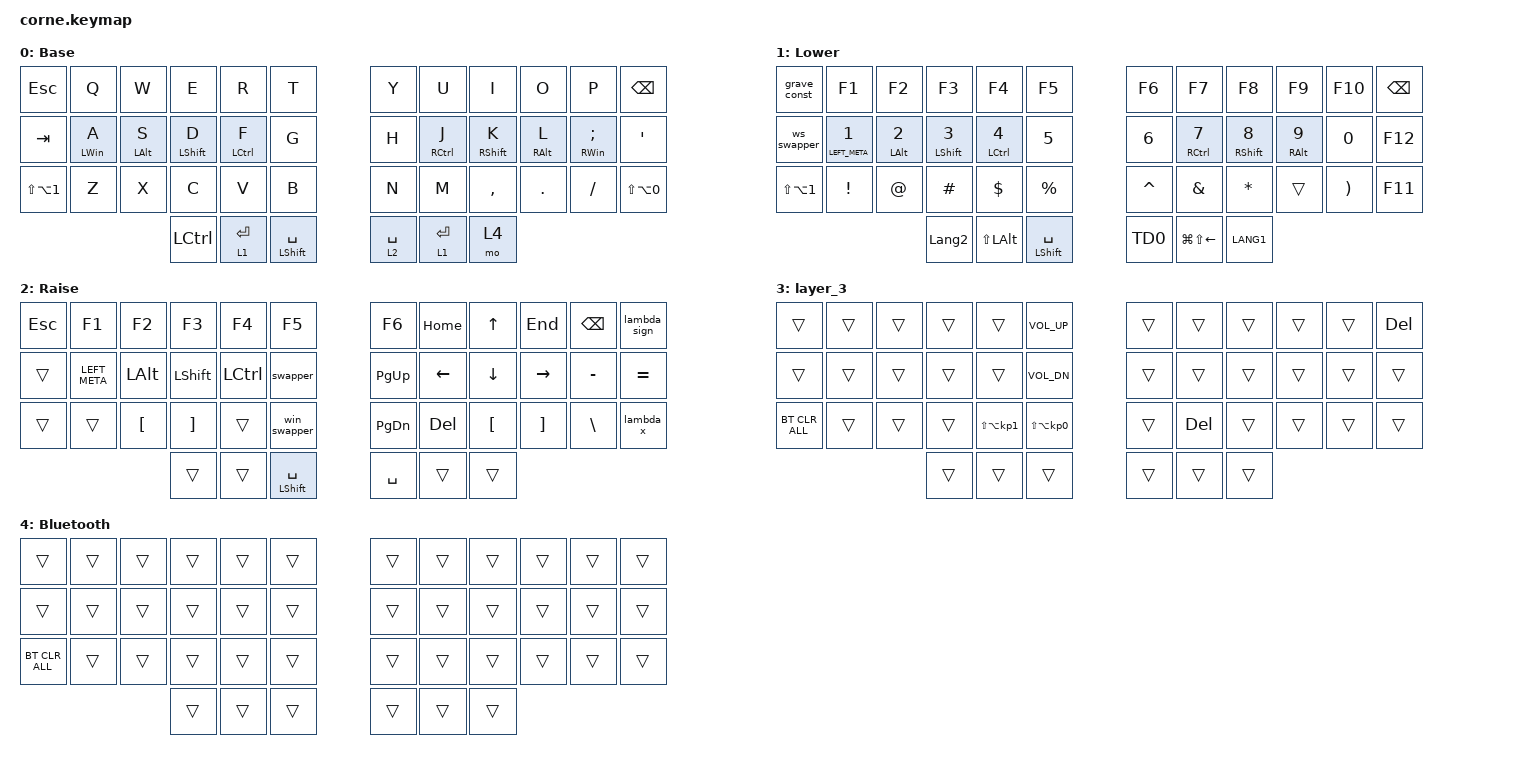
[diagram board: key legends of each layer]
/*
 * Copyright (c) 2020 The ZMK Contributors
 *
 * SPDX-License-Identifier: MIT
 */

#include <behaviors.dtsi>
#include <dt-bindings/zmk/bt.h>
#include <dt-bindings/zmk/keys.h>

/ {
    behaviors {
        HMR: HMR {
            compatible = "zmk,behavior-hold-tap";
            label = "HMR";
            bindings = <&kp>, <&kp>;

            #binding-cells = <2>;
            tapping-term-ms = <280>;
            quick-tap-ms = <175>;
            flavor = "balanced";
            hold-trigger-key-positions = <0 1 2 3 4 5 12 13 14 15 16 17 24 25 26 27 28 29 36 37 38 39 40 41>;
            require-prior-idle-ms = <150>;
            hold-trigger-on-release;
        };

        HML: HML {
            compatible = "zmk,behavior-hold-tap";
            label = "HML";
            bindings = <&kp>, <&kp>;

            #binding-cells = <2>;
            tapping-term-ms = <280>;
            quick-tap-ms = <175>;
            flavor = "balanced";
            hold-trigger-key-positions = <36 37 38 6 7 8 9 10 11 18 19 20 21 22 23 30 31 32 33 34 35 39 40 41>;
            require-prior-idle-ms = <150>;
            hold-trigger-on-release;
        };

        // Alt-on-L only: identical to HMR, but with A (pos 13) and E (pos 3) removed
        // from the trigger list. Word-initial rolls like "la..." / "le..." land after a
        // typing pause, so require-prior-idle can't save them — excluding the positions
        // guarantees L+A / L+E always resolve as taps and never fire Alt+A / Alt+E.
        // All other left-hand keys still combine with L-held-as-Alt (e.g. Alt+Tab via L+Tab).
        HMR_L: HMR_L {
            compatible = "zmk,behavior-hold-tap";
            label = "HMR_L";
            bindings = <&kp>, <&kp>;

            #binding-cells = <2>;
            tapping-term-ms = <280>;
            quick-tap-ms = <175>;
            flavor = "balanced";
            hold-trigger-key-positions = <0 1 2 4 5 12 14 15 16 17 24 25 26 27 28 29 36 37 38 39 40 41>;
            require-prior-idle-ms = <150>;
            hold-trigger-on-release;
        };

        // Alt-on-S only: identical to HML, but with the right-hand letters that form
        // common word-initial "s" bigrams removed, so rolls like "sh", "so", "si",
        // "su", "sy", "sp", "sk", "sl", "sn", "sm" can never fire Alt+<letter> menu
        // accelerators (ribbon/menu focus in Office, browsers, etc.):
        //   Y (6), U (7), I (8), O (9), P (10), H (18), K (20), L (21), N (30), M (31)
        // Still available while holding S as Alt: Alt+J, Alt+Backspace, Alt+Enter
        // (properties/fullscreen), Alt+Space (window menu), and Alt+punctuation.
        HML_S: HML_S {
            compatible = "zmk,behavior-hold-tap";
            label = "HML_S";
            bindings = <&kp>, <&kp>;

            #binding-cells = <2>;
            tapping-term-ms = <280>;
            quick-tap-ms = <175>;
            flavor = "balanced";
            hold-trigger-key-positions = <36 37 38 11 19 22 23 32 33 34 35 39 40 41>;
            require-prior-idle-ms = <150>;
            hold-trigger-on-release;
        };

        // Win-on-A only: identical to HML, but with the Windows system shortcuts that
        // collide with common word-initial "a" rolls removed from the trigger list:
        //   L (21) -> Win+L would LOCK the PC ("all", "also")
        //   N (30) -> Win+N notification center ("and", "any")
        //   M (31) -> Win+M minimize all windows ("am")
        //   H (18) -> Win+H voice typing popup ("ah")
        //   P (10) -> Win+P projection sidebar ("app")
        //   U (7)  -> Win+U accessibility settings ("auto")
        // Useful ones like Win+I (settings), Win+K (cast), Win+. (emoji) remain available.
        HML_A: HML_A {
            compatible = "zmk,behavior-hold-tap";
            label = "HML_A";
            bindings = <&kp>, <&kp>;

            #binding-cells = <2>;
            tapping-term-ms = <280>;
            quick-tap-ms = <175>;
            flavor = "balanced";
            hold-trigger-key-positions = <36 37 38 6 8 9 11 19 20 22 23 32 33 34 35 39 40 41>;
            require-prior-idle-ms = <150>;
            hold-trigger-on-release;
        };

        // urob's swapper (zmk-tri-state module): smart Alt+Tab. First press holds Alt
        // and taps Tab; each further press taps Tab again while Alt stays held, so you
        // can cycle through windows from a single key. Alt is released as soon as any
        // non-ignored key is pressed or the layer is left.
        // ignored-key-positions: 15 (Shift on the raise layer, for reverse cycling
        // with Alt+Shift+Tab) and 39 (the raise-layer thumb key itself).
        swapper: swapper {
            compatible = "zmk,behavior-tri-state";
            #binding-cells = <0>;
            bindings = <&kt LALT>, <&kp TAB>, <&kt LALT>;
            ignored-key-positions = <15 39>;
        };

        // Same idea with the Windows key: opens Task View / workspaces (Win+Tab).
        win_swapper: win_swapper {
            compatible = "zmk,behavior-tri-state";
            #binding-cells = <0>;
            bindings = <&kt LGUI>, <&kp TAB>, <&kt LGUI>;
            ignored-key-positions = <15 39>;
        };

        // Ctrl+Win+Tab workspace cycler, same tri-state trick as the two swappers above.
        // Win is the modifier held ACROSS taps (&kt, applied immediately); Ctrl rides
        // along inside each tap as LC(TAB), so every tap reaches the host as
        // Ctrl+Win+Tab and Win never lifts between taps.
        // Do NOT hold both mods via a macro here: macro bindings are queued with
        // wait-ms (100ms default) between them, while the tri-state's tap fires
        // immediately -> the first tap went out as a bare Ctrl+Tab and Win only landed
        // afterwards. &kt has no such queue.
        // Win is released when the Lower layer is left or any non-ignored key is hit.
        // ignored-key-positions: 37/40 (the Lower-layer Enter thumbs that hold the layer)
        // and 15 (Shift on Lower, so Ctrl+Win+Shift+Tab can cycle the other way).
        ws_swapper: ws_swapper {
            compatible = "zmk,behavior-tri-state";
            #binding-cells = <0>;
            bindings = <&kt LGUI>, <&kp LC(TAB)>, <&kt LGUI>;
            ignored-key-positions = <15 37 40>;
        };

        TD0: TD0 {
            compatible = "zmk,behavior-tap-dance";
            label = "TD0";
            #binding-cells = <0>;
            bindings = <&kp LSHIFT>, <&kp ENTER>;
        };

    };

    combos {
        compatible = "zmk,combos";

        // require-prior-idle-ms on the combos that sit on typing keys: the combo only
        // fires if no other key was pressed in the last 150ms, so fast rolls while
        // typing (e.g. "gf", "cd" bigrams) can never trigger them accidentally.
        Paste {
            bindings = <&kp LC(V)>;
            key-positions = <28 16>;
            require-prior-idle-ms = <150>;
        };

        paste_enter {
            bindings = <&paste_enter>;
            key-positions = <27 28>;
            require-prior-idle-ms = <150>;
        };

        copy {
            bindings = <&kp LC(C)>;
            key-positions = <27 15>;
            require-prior-idle-ms = <150>;
        };

        // X+S pressed together -> Ctrl+X, completing the vertical cut/copy/paste set
        // (cut = X+S, copy = C+D, paste = V+F).
        cut {
            bindings = <&kp LC(X)>;
            key-positions = <26 14>;
            require-prior-idle-ms = <150>;
        };

        // D+K (both index-adjacent home keys) -> Caps Word: capitalizes everything
        // until a word-breaking key (space, punctuation) is pressed. Great for
        // CONSTANTS_LIKE_THIS since underscore does not break it.
        caps_word_combo {
            bindings = <&caps_word>;
            key-positions = <15 20>;
            require-prior-idle-ms = <150>;
        };

        print_screen {
            bindings = <&kp LG(LS(S))>;
            key-positions = <36 37>;
        };

        tab {
            bindings = <&kp TAB>;
            key-positions = <17 16>;
            require-prior-idle-ms = <150>;
        };

        L3 {
            bindings = <&mo 3>;
            key-positions = <0 5>;
        };

        bt_clr_all {
            bindings = <&bt BT_CLR_ALL>;
            key-positions = <0 24 5>;
        };

        // Both Enter thumbs (37+40) pressed together -> latch the numbers layer (&tog 1).
        // Combos are position-based and layer-agnostic, so the SAME chord toggles it
        // back off while latched. Each thumb alone keeps its normal tap-Enter /
        // hold-momentary behavior, and no Lower-layer binding is displaced.
        // Deliberately no require-prior-idle: latching right after typing must work.
        num_toggle {
            bindings = <&tog 1>;
            key-positions = <37 40>;
        };

        // R+F pressed together -> Win+R (Run dialog). Vertical pair like copy (C+D)
        // and paste (V+F); "rf" is a rare bigram so accidental fires while typing are unlikely.
        win_r {
            bindings = <&kp LG(R)>;
            key-positions = <4 16>;
            require-prior-idle-ms = <150>;
        };

        // Parens on right-hand VERTICAL pairs (easier to press than horizontal ones),
        // mirroring the left-hand home+bottom verticals (cut = X+S, copy = C+D,
        // paste = V+F): K+, = ( and L+. = ). Combos are layer-agnostic, so "(" stays
        // reachable even while holding Lower — the dot pass-through keeps its slot.
        lpar {
            bindings = <&kp LPAR>;
            key-positions = <20 32>;
            require-prior-idle-ms = <150>;
        };

        rpar {
            bindings = <&kp RPAR>;
            key-positions = <21 33>;
            require-prior-idle-ms = <150>;
        };

        minus {
            bindings = <&kp MINUS>;
            key-positions = <39 22>;
        };

        equals {
            bindings = <&kp EQUAL>;
            key-positions = <39 23>;
        };
    };

    macros {
        paste_enter: new_macro {
            compatible = "zmk,behavior-macro";
            #binding-cells = <0>;
            bindings = <&kp LC(V) &kp ENTER>;
            label = "PASTE_ENTER";
        };

        lambda_sign: lambda_sign {
            compatible = "zmk,behavior-macro";
            #binding-cells = <0>;
            bindings = <&kp EQUAL &kp GT>;
            label = "LAMBDA_SIGN";
        };

        lambda_x: lambda_x {
            compatible = "zmk,behavior-macro";
            #binding-cells = <0>;
            bindings = <&kp LPAR &kp X &kp SPACE &kp EQUAL &kp GT &kp SPACE &kp X &kp DOT &kp RPAR &kp LEFT_ARROW>;
            label = "LAMBDA_X";
        };

        // Layout-independent backtick for Windows: sends Alt+Numpad-096, which inserts
        // the character by code and bypasses the active input language entirely —
        // types ` whether the OS layout is English or Georgian (where the grave key
        // normally yields a low quote). Caveat: Windows Alt-codes need NumLock ON,
        // and a few apps (some terminals) don't accept Alt-code input.
        grave_const: grave_const {
            compatible = "zmk,behavior-macro";
            #binding-cells = <0>;
            wait-ms = <10>;
            tap-ms = <10>;
            bindings = <&macro_press &kp LALT>, <&macro_tap &kp KP_N0 &kp KP_N9 &kp KP_N6>, <&macro_release &kp LALT>;
            label = "GRAVE_CONST";
        };

        brackets: brackets {
            compatible = "zmk,behavior-macro";
            #binding-cells = <0>;
            bindings = <&kp LPAR &kp RPAR &kp LEFT>;
            label = "BRACKETS";
        };
    };

    keymap {
        compatible = "zmk,keymap";

        default_layer {
            // ---------------------------------------------------------------------------------------------------------------
            // |   ESC    |   Q   |   W   |   E   |   R   |  T  |   |  Y  |   U   |   I   |   O   |   P   |   BSPC   |
            // |   TAB    | A/Win | S/Alt | D/Sft | F/Ctl |  G  |   |  H  | J/Ctl | K/Sft | L/Alt | ;/Win |    '     |
            // | Sh+Alt+1 |   Z   |   X   |   C   |   V   |  B  |   |  N  |   M   |   ,   |   .   |   /   | Sh+Alt+0 |
            //                    | CTRL | L1/ENT | SFT/SPC |   | L2/SPC | L1/ENT | L4 |
            //
            // Combos: R+F=Win+R  G+F=Tab  D+K=CapsWord  X+S=Cut  C+D=Copy  V+F=Paste  C+V=Paste+Enter
            //         K+,=(  L+.=)  SPC+;=Minus  SPC+'=Equals  ESC+T=L3  thumb36+37=PrintScreen
            //         BothEnterThumbs=latch/unlatch numbers layer

            display-name = "Base";
            bindings = <
&kp ESCAPE            &kp Q             &kp W                 &kp E             &kp R                &kp T               &kp Y        &kp U                 &kp I      &kp O                  &kp P                     &kp BSPC
&kp TAB               &HML_A LWIN A  &HML_S LEFT_ALT S  &HML LSHIFT D  &HML LEFT_CONTROL F  &kp G               &kp H        &HMR RIGHT_CONTROL J  &HMR RSHIFT K  &HMR_L RIGHT_ALT L  &HMR RWIN SEMICOLON  &kp APOSTROPHE
&kp LS(LA(NUMBER_1))  &kp Z             &kp X                 &kp C             &kp V                &kp B               &kp N        &kp M                 &kp COMMA  &kp DOT                &kp FSLH                  &kp LS(LA(N0))
                                                              &kp LEFT_CONTROL  &lt 1 ENTER          &mt LSHIFT SPACE    &lt 2 SPACE  &lt 1 ENTER           &mo 4
            >;
        };

        lower_layer {
            // ---------------------------------------------------------------------------------------------------------------
            // |    `     |  F1   |  F2   |  F3   |  F4   |  F5 |   |  F6 |  F7   |  F8   |  F9   | F10 | BSPC |
            // | WsSwapper | 1/Win | 2/Alt | 3/Sft | 4/Ctl |  5  |   |  6  | 7/Ctl | 8/Sft | 9/Alt |  0  | F12  |
            // | Sh+Alt+1 |   !   |   @   |   #   |   $   |  %  |   |  ^  |   &   |   *   |   .   |  )  | F11  |
            //                    | LANG2 | Sh+Alt | SFT/SPC |   | TD0(Sft/Ent) | Win+Sh+Left | LANG1 |
            //
            // WsSwapper (TAB slot): hold Lower + tap Tab repeatedly to cycle workspaces
            // with Ctrl+Win held (the host's Ctrl+Win+Tab shortcut).
            //
            // Note: the "(" slot is intentionally &trans -> base-layer DOT, so a decimal
            // point sits next to the number homerow. "(" is not on this layer by design.

            display-name = "Lower";
            bindings = <
&grave_const          &kp F1                   &kp F2                  &kp F3                &kp F4                      &kp F5              &kp F6        &kp F7                 &kp F8               &kp F9             &kp F10                &kp BACKSPACE
// Position 12 (the base-layer TAB key) on Lower -> ws_swapper: hold Lower and tap
// Tab repeatedly to keep cycling workspaces with Ctrl+Win held down (see the
// ws_swapper behavior). Replaces a duplicate Sh+Alt+0, which still lives on the
// base layer at position 35.
&ws_swapper           &HML LEFT_META NUMBER_1  &HML LEFT_ALT NUMBER_2  &HML LSHIFT NUMBER_3  &HML LEFT_CONTROL NUMBER_4  &kp N5              &kp NUMBER_6  &HMR RIGHT_CONTROL N7  &HMR RIGHT_SHIFT N8  &HMR RIGHT_ALT N9  &kp N0                 &kp F12
&kp LS(LA(NUMBER_1))  &kp EXCLAMATION          &kp AT_SIGN             &kp HASH              &kp DOLLAR                  &kp PERCENT         &kp CARET     &kp AMPERSAND          &kp ASTERISK         &trans             &kp RIGHT_PARENTHESIS  &kp F11
                                                                       &kp LANGUAGE_2        &kp LS(LEFT_ALT)            &mt LSHIFT SPACE    &TD0          &kp LG(LS(LEFT))       &kp LANG1
            >;
        };

        SpaceFN {
            // ---------------------------------------------------------------------------------------------------------------
            // | ESC   | F1  | F2  | F3  | F4  |     F5     |   |  F6  | HOME | UP   | END  | BSPC |   =>    |
            // | trans | Win | Alt | Sft | Ctl |  AltTabSwp |   | PGUP | LEFT | DOWN | RGHT |  -   |   =     |
            // | trans |     |  [  |  ]  |     |  WinTabSwp |   | PGDN | DEL  |  [   |  ]   |  \   | (x=>x.) |
            //                     | trans | trans | SFT/SPC |   | SPC | trans | trans |
            //
            // AltTabSwp (G slot): hold right thumb + tap repeatedly to cycle windows (Alt stays held).
            // WinTabSwp (B slot): Win+Tab -> Task View / workspaces.

            display-name = "Raise";
            bindings = <
&kp ESC  &kp F1         &kp F2            &kp F3             &kp F4            &kp F5                  &kp F6         &kp HOME    &kp UP_ARROW      &kp END            &kp BACKSPACE  &lambda_sign
&trans   &kp LEFT_META  &kp LEFT_ALT      &kp LSHIFT         &kp LEFT_CONTROL  &swapper                &kp PAGE_UP    &kp LEFT    &kp DOWN          &kp RIGHT          &kp MINUS      &kp EQUAL
&trans   &trans         &kp LEFT_BRACKET  &kp RIGHT_BRACKET  &trans            &win_swapper            &kp PAGE_DOWN  &kp DELETE  &kp LEFT_BRACKET  &kp RIGHT_BRACKET  &kp BACKSLASH  &lambda_x
                                          &trans             &trans            &mt LEFT_SHIFT SPACE    &kp SPACE      &trans      &trans
            >;
        };

        layer_3 {
            bindings = <
&trans          &trans  &trans  &trans  &trans                   &kp C_VOLUME_UP            &trans  &trans      &trans  &trans  &trans  &kp DELETE
&trans          &trans  &trans  &trans  &trans                   &kp C_VOL_DN               &trans  &trans      &trans  &trans  &trans  &trans
&bt BT_CLR_ALL  &trans  &trans  &trans  &kp LS(LA(KP_NUMBER_1))  &kp LS(LA(KP_NUMBER_0))    &trans  &kp DELETE  &trans  &trans  &trans  &trans
                                &trans  &trans                   &trans                     &trans  &trans      &trans
            >;
        };

        Bluetooth {
            bindings = <
&trans          &trans  &trans  &trans  &trans  &trans    &trans  &trans  &trans  &trans  &trans  &trans
&trans          &trans  &trans  &trans  &trans  &trans    &trans  &trans  &trans  &trans  &trans  &trans
&bt BT_CLR_ALL  &trans  &trans  &trans  &trans  &trans    &trans  &trans  &trans  &trans  &trans  &trans
                                &trans  &trans  &trans    &trans  &trans  &trans
            >;
        };
    };
};
